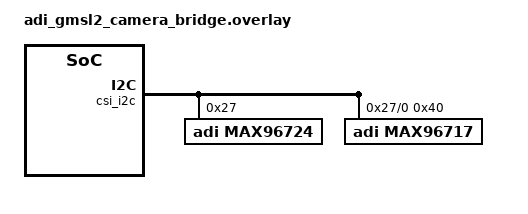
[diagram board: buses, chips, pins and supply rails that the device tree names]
/*
 * Copyright (c) 2026 Charles Dias
 *
 * SPDX-License-Identifier: Apache-2.0
 *
 * ADI GMSL2 Camera Bridge: MAX96724 (deserializer) + 1x MAX96717 (serializer).
 *
 * This shield is camera-agnostic. Combine with a camera sensor shield and a
 * sample overlay that wires the sensor to the MAX96717 serializer input.
 *
 */

#include <zephyr/dt-bindings/gpio/raspberrypi-csi-connector.h>
#include <zephyr/dt-bindings/video/video-interfaces.h>

/* Redirect CSI host input from camera to MAX96724 deserializer output */
&csi_ep_in {
	remote-endpoint-label = "des_csi_out";
	bus-type = <VIDEO_BUS_TYPE_CSI2_DPHY>;
	data-lanes = <1 2>;
};

&csi_i2c {
	max96724: max96724@27 {
		compatible = "adi,max96724";
		reg = <0x27>;
		#address-cells = <1>;
		#size-cells = <0>;

		ports {
			#address-cells = <1>;
			#size-cells = <0>;

			/* GMSL input of link A: ports 0 to 3 are links A to D. */
			des_gmsl_port: port@0 {
				reg = <0>;

				des_gmsl_in: endpoint {
					remote-endpoint-label = "ser_gmsl_out";
				};
			};

			/* CSI-2 output of PHY 2: ports 4 to 7 are PHYs 0 to 3. */
			des_csi_port: port@6 {
				reg = <6>;

				des_csi_out: endpoint {
					remote-endpoint-label = "csi_ep_in";
					bus-type = <VIDEO_BUS_TYPE_CSI2_DPHY>;
					data-lanes = <1 2>;
					/* D-PHY clock: the lanes run at twice this, 1.5 Gbps. */
					link-frequencies = <750000000>;
				};
			};
		};

		/*
		 * I2C behind GMSL link A: the deserializer forwards transactions to the
		 * serializer and, through it, to the camera bus.
		 */
		des_i2c: i2c-gate@0 {
			compatible = "adi,max96724-i2c-gate";
			reg = <0>;
			#address-cells = <1>;
			#size-cells = <0>;

			max96717: max96717@40 {
				compatible = "adi,max96717";
				reg = <0x40>;

				ports {
					#address-cells = <1>;
					#size-cells = <0>;

					port@1 {
						reg = <1>;

						ser_gmsl_out: endpoint {
							remote-endpoint-label = "des_gmsl_in";
						};
					};
				};

				/* Camera-side I2C bus of the serializer; the sensor goes here. */
				ser_i2c: i2c-gate {
					compatible = "adi,max96717-i2c-gate";
					#address-cells = <1>;
					#size-cells = <0>;
				};

				/*
				 * MFP pins. On the camera connector MFP0 is pin 11 (IO0) and MFP3
				 * is pin 12 (IO1); MFP9 and MFP10 carry the camera I2C bus.
				 */
				ser_gpio: gpio {
					compatible = "adi,max96717-gpio";
					gpio-controller;
					#gpio-cells = <2>;
					ngpios = <11>;
					gpio-reserved-ranges = <9 2>;
				};
			};
		};
	};
};
